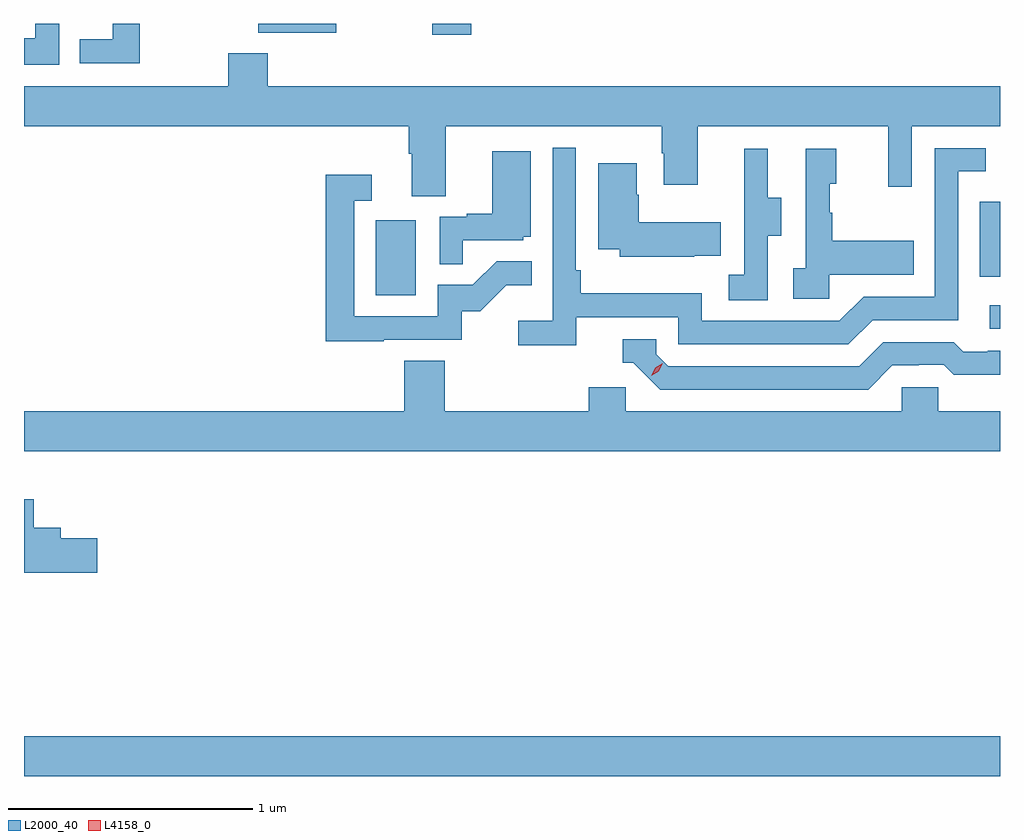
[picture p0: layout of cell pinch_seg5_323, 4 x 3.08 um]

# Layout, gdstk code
import gdstk
lib = gdstk.Library(unit=1e-6, precision=1e-09)
def R(c, l, rs):  # rectangles x0, y0, x1, y1
    for r in rs: c.add(gdstk.rectangle(r[:2], r[2:], *l))
def P(c, l, *ps):  # polygons
    for p in ps: c.add(gdstk.Polygon(p, *l))
L2000_40 = (2000, 40)
L4158_0 = (4158, 0)

pinch_seg5_323 = lib.new_cell('pinch_seg5_323')
R(pinch_seg5_323, L2000_40, [(940.212,886.064,944.212,886.228), (944.169,887.898,944.212,887.994), (941.654,888.036,941.818,888.343), (944.13,888.111,944.212,888.42), (941.885,889.104,942.046,889.149), (941.173,889.112,941.491,889.149)])
P(pinch_seg5_323, L2000_40, [(940.356,889.149),(940.259,889.149),(940.259,889.09),(940.212,889.09),(940.212,888.981),(940.356,888.981)],
  [(940.687,889.149),(940.576,889.149),(940.576,889.084),(940.441,889.084),(940.441,888.987),(940.687,888.987)],
  [(941.941,888.728),(942.826,888.728),(942.826,888.617),(942.833,888.617),(942.833,888.489),(942.973,888.489),(942.973,888.728),(943.754,888.728),(943.754,888.48),(943.851,888.48),(943.851,888.728),(944.212,888.728),(944.212,888.892),(941.21,888.892),(941.21,889.027),(941.05,889.027),(941.05,888.892),(940.212,888.892),(940.212,888.728),(941.789,888.728),(941.789,888.616),(941.801,888.616),(941.801,888.442),(941.941,888.442)],
  [(942.476,887.946),(942.894,887.946),(942.894,887.835),(943.591,887.835),(943.69,887.934),(944.04,887.934),(944.04,888.543),(944.153,888.543),(944.153,888.639),(943.944,888.639),(943.944,888.03),(943.653,888.03),(943.554,887.931),(942.99,887.931),(942.99,888.043),(942.494,888.043),(942.494,888.139),(942.474,888.139),(942.474,888.64),(942.378,888.64),(942.378,887.932),(942.237,887.932),(942.237,887.83),(942.476,887.83)],
  [(943.512,888.119),(943.859,888.119),(943.859,888.259),(943.525,888.259),(943.525,888.374),(943.515,888.374),(943.515,888.492),(943.54,888.492),(943.54,888.637),(943.416,888.637),(943.416,888.146),(943.365,888.146),(943.365,888.021),(943.512,888.021)],
  [(943.26,888.28),(943.315,888.28),(943.315,888.435),(943.261,888.435),(943.261,888.637),(943.163,888.637),(943.163,888.423),(943.164,888.423),(943.164,888.119),(943.101,888.119),(943.101,888.016),(943.26,888.016)],
  [(942.011,888.261),(942.258,888.261),(942.258,888.276),(942.289,888.276),(942.289,888.625),(942.131,888.625),(942.131,888.37),(942.027,888.37),(942.027,888.357),(941.916,888.357),(941.916,888.163),(942.011,888.163)],
  [(942.959,888.197),(943.067,888.197),(943.067,888.334),(942.732,888.334),(942.732,888.447),(942.724,888.447),(942.724,888.577),(942.566,888.577),(942.566,888.224),(942.653,888.224),(942.653,888.194),(942.959,888.194)],
  [(941.687,887.853),(942.006,887.853),(942.006,887.97),(942.082,887.97),(942.189,888.077),(942.293,888.077),(942.293,888.176),(942.149,888.176),(942.051,888.078),(941.907,888.078),(941.907,887.949),(941.565,887.949),(941.565,888.423),(941.638,888.423),(941.638,888.529),(941.449,888.529),(941.449,887.848),(941.687,887.848)],
  [(943.771,887.748),(943.878,887.748),(943.878,887.751),(943.981,887.751),(944.023,887.709),(944.212,887.709),(944.212,887.808),(944.161,887.808),(944.161,887.805),(944.062,887.805),(944.023,887.844),(943.734,887.844),(943.635,887.745),(942.852,887.745),(942.804,887.793),(942.804,887.856),(942.665,887.856),(942.665,887.76),(942.708,887.76),(942.819,887.649),(943.672,887.649)],
  [(944.212,887.56),(943.959,887.56),(943.959,887.658),(943.809,887.658),(943.809,887.56),(942.678,887.56),(942.678,887.658),(942.527,887.658),(942.527,887.56),(941.936,887.56),(941.936,887.768),(941.771,887.768),(941.771,887.56),(940.212,887.56),(940.212,887.396),(944.212,887.396)],
  [(940.513,887.04),(940.363,887.04),(940.363,887.083),(940.252,887.083),(940.252,887.2),(940.212,887.2),(940.212,886.898),(940.513,886.898)])
P(pinch_seg5_323, L4158_0, [(942.783,887.705),(942.783,887.706),(942.799,887.738),(942.83,887.757),(942.83,887.757),(942.83,887.757),(942.814,887.724),(942.783,887.705)])

lib.write_gds('pinch_seg5_323.gds')
